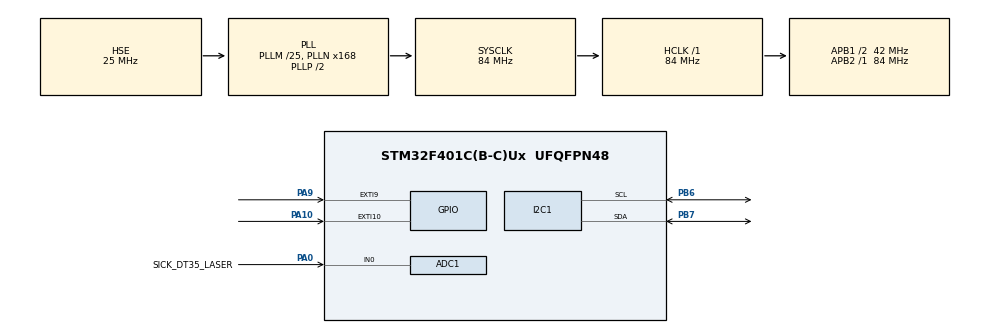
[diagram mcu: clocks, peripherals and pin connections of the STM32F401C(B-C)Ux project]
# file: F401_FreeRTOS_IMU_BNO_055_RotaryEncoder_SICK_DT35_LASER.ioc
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ADC1.Channel-0\#ChannelRegularConversion=ADC_CHANNEL_0
ADC1.ContinuousConvMode=ENABLE
ADC1.DMAContinuousRequests=ENABLE
ADC1.NbrOfConversionFlag=1
ADC1.Rank-0\#ChannelRegularConversion=1
ADC1.SamplingTime-0\#ChannelRegularConversion=ADC_SAMPLETIME_3CYCLES
ADC1.ScanConvMode=ENABLE
ADC1.master=1
Dma.ADC1.0.Direction=DMA_PERIPH_TO_MEMORY
Dma.ADC1.0.FIFOMode=DMA_FIFOMODE_DISABLE
Dma.ADC1.0.Instance=DMA2_Stream0
Dma.ADC1.0.MemDataAlignment=DMA_MDATAALIGN_HALFWORD
Dma.ADC1.0.MemInc=DMA_MINC_ENABLE
Dma.ADC1.0.Mode=DMA_NORMAL
Dma.ADC1.0.PeriphDataAlignment=DMA_PDATAALIGN_HALFWORD
Dma.ADC1.0.PeriphInc=DMA_PINC_DISABLE
Dma.ADC1.0.Priority=DMA_PRIORITY_HIGH
Dma.Request0=ADC1
FREERTOS.Tasks01=defaultTask,15,128,StartDefaultTask,Default,NULL,Dynamic,NULL,NULL;myTask_IMU_BNO_,16,512,IMU_BNO_055,Default,NULL,Dynamic,NULL,NULL;myTaskRotaryEnc,25,512,RotaryEncoder,Default,NULL,Dynamic,NULL,NULL;myTask_SICK_DT3,40,1000,SICK_DT35_LASER,Default,NULL,Dynamic,NULL,NULL
I2C1.I2C_Mode=I2C_Fast
Mcu.Family=STM32F4
Mcu.Name=STM32F401C(B-C)Ux
Mcu.Package=UFQFPN48
NVIC.DMA2_Stream0_IRQn=true\:5\:0\:false\:false\:true\:true\:false\:true\:true
NVIC.EXTI15_10_IRQn=true\:5\:0\:false\:false\:true\:true\:true\:true\:true
NVIC.EXTI9_5_IRQn=true\:5\:0\:false\:false\:true\:true\:true\:true\:true
NVIC.PriorityGroup=NVIC_PRIORITYGROUP_4
PA0-WKUP.GPIO_Label=SICK_DT35_LASER
PA0-WKUP.Signal=ADCx_IN0
PA10.GPIO_ModeDefaultEXTI=GPIO_MODE_IT_RISING_FALLING
PA10.GPIO_PuPd=GPIO_PULLUP
PA10.Signal=GPXTI10
PA13.Mode=Serial_Wire
PA13.Signal=SYS_JTMS-SWDIO
PA14.Mode=Serial_Wire
PA14.Signal=SYS_JTCK-SWCLK
PA9.GPIO_ModeDefaultEXTI=GPIO_MODE_IT_RISING_FALLING
PA9.GPIO_PuPd=GPIO_PULLUP
PA9.Signal=GPXTI9
PB6.Mode=I2C
PB6.Signal=I2C1_SCL
PB7.Mode=I2C
PB7.Signal=I2C1_SDA
PH0\ -\ OSC_IN.Mode=HSE-External-Oscillator
PH0\ -\ OSC_IN.Signal=RCC_OSC_IN
PH1\ -\ OSC_OUT.Mode=HSE-External-Oscillator
PH1\ -\ OSC_OUT.Signal=RCC_OSC_OUT
ProjectManager.HeapSize=0x200
ProjectManager.StackSize=0x400
ProjectManager.TargetToolchain=STM32CubeIDE
RCC.48MHZClocksFreq_Value=42000000
RCC.AHBFreq_Value=84000000
RCC.APB1CLKDivider=RCC_HCLK_DIV2
RCC.APB1Freq_Value=42000000
RCC.APB1TimFreq_Value=84000000
RCC.APB2Freq_Value=84000000
RCC.APB2TimFreq_Value=84000000
RCC.CortexFreq_Value=84000000
RCC.HCLKFreq_Value=84000000
RCC.HSE_VALUE=25000000
RCC.HSI_VALUE=16000000
RCC.LSE_VALUE=32768
RCC.PLLM=25
RCC.PLLN=168
RCC.PLLSourceVirtual=RCC_PLLSOURCE_HSE
RCC.SYSCLKFreq_VALUE=84000000
RCC.SYSCLKSource=RCC_SYSCLKSOURCE_PLLCLK
RCC.VCOOutputFreq_Value=168000000
SH.ADCx_IN0.0=ADC1_IN0,IN0
VP_FREERTOS_VS_CMSIS_V2.Mode=CMSIS_V2
board=custom

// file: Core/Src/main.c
/* USER CODE BEGIN Header */
/**
  ******************************************************************************
  * @file           : main.c
  * @brief          : Main program body
  ******************************************************************************
  * @attention
  *
  * Copyright (c) 2024 STMicroelectronics.
  * All rights reserved.
  *
  * This software is licensed under terms that can be found in the LICENSE file
  * in the root directory of this software component.
  * If no LICENSE file comes with this software, it is provided AS-IS.
  *
  ******************************************************************************
  */
/* USER CODE END Header */
#include "main.h"
#include "cmsis_os.h"
#include "adc.h"
#include "dma.h"
#include "i2c.h"
#include "gpio.h"

/* USER CODE BEGIN PTD */

		/*
				extern uint16_t chA_pin;
				extern uint16_t chB_pin;
				extern enc1;
		*/

		#define chA_pin GPIO_PIN_9
		#define chB_pin GPIO_PIN_10
		#define chAB_gpio_port GPIOA

		extern enc1;
		extern encoder;

/* USER CODE END PTD */

void SystemClock_Config(void);
void MX_FREERTOS_Init(void);

int main(void)
{

  /* MCU Configuration--------------------------------------------------------*/

  /* Reset of all peripherals, Initializes the Flash interface and the Systick. */
  HAL_Init();

  /* Configure the system clock */
  SystemClock_Config();

  /* Initialize all configured peripherals */
  MX_GPIO_Init();
  MX_DMA_Init();
  MX_ADC1_Init();
  MX_I2C1_Init();
  /* USER CODE BEGIN 2 */

//	  HAL_ADC_Start_DMA(&hadc1, &AD_RES, 1);

  /* USER CODE END 2 */

  /* Init scheduler */
  osKernelInitialize();

  /* Call init function for freertos objects (in freertos.c) */
  MX_FREERTOS_Init();

  /* Start scheduler */
  osKernelStart();

  /* We should never get here as control is now taken by the scheduler */
  /* Infinite loop */
  while (1)
  {

      }
}

void SystemClock_Config(void)
{
  RCC_OscInitTypeDef RCC_OscInitStruct = {0};
  RCC_ClkInitTypeDef RCC_ClkInitStruct = {0};

  /** Configure the main internal regulator output voltage
  */
  __HAL_RCC_PWR_CLK_ENABLE();
  __HAL_PWR_VOLTAGESCALING_CONFIG(PWR_REGULATOR_VOLTAGE_SCALE2);

  /** Initializes the RCC Oscillators according to the specified parameters
  * in the RCC_OscInitTypeDef structure.
  */
  RCC_OscInitStruct.OscillatorType = RCC_OSCILLATORTYPE_HSE;
  RCC_OscInitStruct.HSEState = RCC_HSE_ON;
  RCC_OscInitStruct.PLL.PLLState = RCC_PLL_ON;
  RCC_OscInitStruct.PLL.PLLSource = RCC_PLLSOURCE_HSE;
  RCC_OscInitStruct.PLL.PLLM = 25;
  RCC_OscInitStruct.PLL.PLLN = 168;
  RCC_OscInitStruct.PLL.PLLP = RCC_PLLP_DIV2;
  RCC_OscInitStruct.PLL.PLLQ = 4;
  if (HAL_RCC_OscConfig(&RCC_OscInitStruct) != HAL_OK)
  {
    Error_Handler();
  }

  /** Initializes the CPU, AHB and APB buses clocks
  */
  RCC_ClkInitStruct.ClockType = RCC_CLOCKTYPE_HCLK|RCC_CLOCKTYPE_SYSCLK
                              |RCC_CLOCKTYPE_PCLK1|RCC_CLOCKTYPE_PCLK2;
  RCC_ClkInitStruct.SYSCLKSource = RCC_SYSCLKSOURCE_PLLCLK;
  RCC_ClkInitStruct.AHBCLKDivider = RCC_SYSCLK_DIV1;
  RCC_ClkInitStruct.APB1CLKDivider = RCC_HCLK_DIV2;
  RCC_ClkInitStruct.APB2CLKDivider = RCC_HCLK_DIV1;

  if (HAL_RCC_ClockConfig(&RCC_ClkInitStruct, FLASH_LATENCY_2) != HAL_OK)
  {
    Error_Handler();
  }
}

/* USER CODE BEGIN 4 */

	/*
		// EXTERNAL INTERUPPT

			void HAL_GPIO_EXTI_Callback(uint16_t GPIO_Pin){
				if(GPIO_Pin == chA_pin||chB_pin){
					read_encoder(&enc1, HAL_GPIO_ReadPin(GPIOA, chA_pin), HAL_GPIO_ReadPin(GPIOA, chB_pin));
				}
			}
	*/

	/* EXTERNAL INTERUPPT */

		void HAL_GPIO_EXTI_Callback(uint16_t GPIO_Pin){
			if(GPIO_Pin == chA_pin||chB_pin){
				read_encoder(&enc1, HAL_GPIO_ReadPin(chAB_gpio_port, chA_pin), HAL_GPIO_ReadPin(chAB_gpio_port, chB_pin));
			}
		}

/* USER CODE END 4 */

void Error_Handler(void)
{
  __disable_irq();
  while (1)
  {
  }
}

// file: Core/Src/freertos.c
/* USER CODE BEGIN Header */
/**
  ******************************************************************************
  * File Name          : freertos.c
  * Description        : Code for freertos applications
  ******************************************************************************
  * @attention
  *
  * Copyright (c) 2024 STMicroelectronics.
  * All rights reserved.
  *
  * This software is licensed under terms that can be found in the LICENSE file
  * in the root directory of this software component.
  * If no LICENSE file comes with this software, it is provided AS-IS.
  *
  ******************************************************************************
  */
/* USER CODE END Header */

#include "FreeRTOS.h"
#include "task.h"
#include "main.h"
#include "cmsis_os.h"

/* USER CODE BEGIN Includes */

#include "bno055_stm32.h"
#include "bno055.h"
#include "adc.h"

/* USER CODE END Includes */

/* USER CODE BEGIN PTD */

	/* EXTERNAL ROTAR ENCODER */

		typedef struct{
		  long counter;
		  GPIO_PinState lastA;
		  GPIO_PinState lastB;
		  double distand ;
		  double last_en_co;
		  double angle;
		}encoder;
		encoder enc1;

	/* IMU BNO 055 */

		/* EULER */

			bno055_vector_t E;

		/* QUATERNION */

			bno055_vector_t Q;

		/* ACCELEROMETER */

			bno055_vector_t A;

		/* MAGNETORMETER */

			bno055_vector_t M;

		/* CALIBRATION STATE */

			bno055_vector_t C;

		 /* GRAVITY */

			bno055_vector_t Gra;

		 /* GYROSCOPE */

			bno055_vector_t Gyr;

		/* EXTERNAL ROTAR ENCODER */

//			encoder enc1;

/* USER CODE END PTD */

/* USER CODE BEGIN PD */

	/* ROTARY ENCODER */

		#define EPR 2400
		#define PI 3.14159
	/*
		uint16_t chA_pin;
		uint16_t chB_pin;
	*/
		#define chA_pin GPIO_PIN_9
		#define chB_pin GPIO_PIN_10
		#define chAB_gpio_port GPIOA

		#define wheel_radius_encoder 0.03 /* MATER */

		uint32_t sample_time = 0;
		int get_value = 0;

	/* SICK DT35 LASER */

		uint16_t AD_RES = 0;
		int DISTANCE;
		int CENTIMETER;
		float METER;

/* USER CODE END PD */

/* USER CODE BEGIN PM */

	/* READ COUNT ROTARY ENCODER */

		void read_encoder(encoder *Encoder, GPIO_PinState chA, GPIO_PinState ChB){
		  if(chA != Encoder->lastA){
			Encoder->lastA = chA;
			if(chA != ChB){
			  Encoder->counter++;
			}else {
			  Encoder->counter--;
			}
		  }
		  if(ChB != Encoder->lastB){
			Encoder->lastB = ChB;
			if(ChB == chA){
			  Encoder->counter++;
			}else {
			  Encoder->counter--;
			}
		  }
		}

/* USER CODE END PM */

/* Definitions for defaultTask */
osThreadId_t defaultTaskHandle;
const osThreadAttr_t defaultTask_attributes = {
  .name = "defaultTask",
  .stack_size = 128 * 4,
  .priority = (osPriority_t) osPriorityLow7,
};
/* Definitions for myTask_IMU_BNO_ */
osThreadId_t myTask_IMU_BNO_Handle;
const osThreadAttr_t myTask_IMU_BNO__attributes = {
  .name = "myTask_IMU_BNO_",
  .stack_size = 512 * 4,
  .priority = (osPriority_t) osPriorityBelowNormal,
};
/* Definitions for myTaskRotaryEnc */
osThreadId_t myTaskRotaryEncHandle;
const osThreadAttr_t myTaskRotaryEnc_attributes = {
  .name = "myTaskRotaryEnc",
  .stack_size = 512 * 4,
  .priority = (osPriority_t) osPriorityNormal1,
};
/* Definitions for myTask_SICK_DT3 */
osThreadId_t myTask_SICK_DT3Handle;
const osThreadAttr_t myTask_SICK_DT3_attributes = {
  .name = "myTask_SICK_DT3",
  .stack_size = 1000 * 4,
  .priority = (osPriority_t) osPriorityHigh,
};

void StartDefaultTask(void *argument);
void IMU_BNO_055(void *argument);
void RotaryEncoder(void *argument);
void SICK_DT35_LASER(void *argument);

void MX_FREERTOS_Init(void); /* (MISRA C 2004 rule 8.1) */

void MX_FREERTOS_Init(void) {

  /* Create the thread(s) */
  /* creation of defaultTask */
  defaultTaskHandle = osThreadNew(StartDefaultTask, NULL, &defaultTask_attributes);

  /* creation of myTask_IMU_BNO_ */
  myTask_IMU_BNO_Handle = osThreadNew(IMU_BNO_055, NULL, &myTask_IMU_BNO__attributes);

  /* creation of myTaskRotaryEnc */
  myTaskRotaryEncHandle = osThreadNew(RotaryEncoder, NULL, &myTaskRotaryEnc_attributes);

  /* creation of myTask_SICK_DT3 */
  myTask_SICK_DT3Handle = osThreadNew(SICK_DT35_LASER, NULL, &myTask_SICK_DT3_attributes);

}

void StartDefaultTask(void *argument)
{
  for(;;)
  {
  }
}

void IMU_BNO_055(void *argument)
{
  /* USER CODE BEGIN IMU_BNO_055 */
  /* Infinite loop

   	/* IMU BNO 055 */

		  bno055_assignI2C(&hi2c1);
		  bno055_setup();
		  bno055_setOperationModeNDOF();

  for(;;)
  {
	  /* IMU BNO 055 */

		  /* EULER */

			  E	  = bno055_getVectorEuler();
					HAL_Delay(5);

		  /* QUATERNION */

			  Q   = bno055_getVectorQuaternion();
					HAL_Delay(5);

		  /* ACCELEROMETER */

			  A	  = bno055_getVectorAccelerometer();
					HAL_Delay(5);

		  /* MAGNETORMETER */

			  M   = bno055_getVectorMagnetometer();
					HAL_Delay(5);

		  /* GRAVITY */

			  Gra = bno055_getVectorGravity();
					HAL_Delay(5);

		  /* GYROSCOPE */

			  Gyr = bno055_getVectorGyroscope();
					HAL_Delay(5);

				osThreadYield();
				osDelay(1);

  }
  /* USER CODE END IMU_BNO_055 */
}

void RotaryEncoder(void *argument)
{
  /* USER CODE BEGIN RotaryEncoder */
  /* Infinite loop */
  for(;;)
  {

	  if ( HAL_GetTick() - sample_time >= 10){
		  sample_time = HAL_GetTick();
		  get_value = enc1.counter;

		  /* DISTANCE ROTARY ENCODER */

			  enc1.distand = 2 * PI * wheel_radius_encoder * get_value / EPR;
	  }

	  osThreadYield();
	  osDelay(1);

  }
  /* USER CODE END RotaryEncoder */
}

void SICK_DT35_LASER(void *argument)
{
  /* USER CODE BEGIN SICK_DT35_LASER */
  /* Infinite loop */

	  HAL_ADC_Start_DMA(&hadc1, &AD_RES, 1);

  for(;;)
  {

  	  /*  ADC DMA MODE */

			  /*

				  DISTANCE = (AD_RES *0.1)  + 10;   // FIRST  TEST 1

				  DISTANCE = (AD_RES *0.09) + 43;   // SECOND TEST 2

				  DISTANCE = (AD_RES *0.078) + 82;  // THREE  TEST 3

			  */

	   /*  DISTANCE USE EQUATIONS LINEAR: y = ax + b */

		  /* CM (CENTIMETER) */

		  	  CENTIMETER = (AD_RES * 0.099) + 47.5;

		  /* M (METER) */

		  	  METER = CENTIMETER / 100.0f;

		  	  osThreadYield();
		  	  osDelay(1);

  	  }

  /* USER CODE END SICK_DT35_LASER */
}
